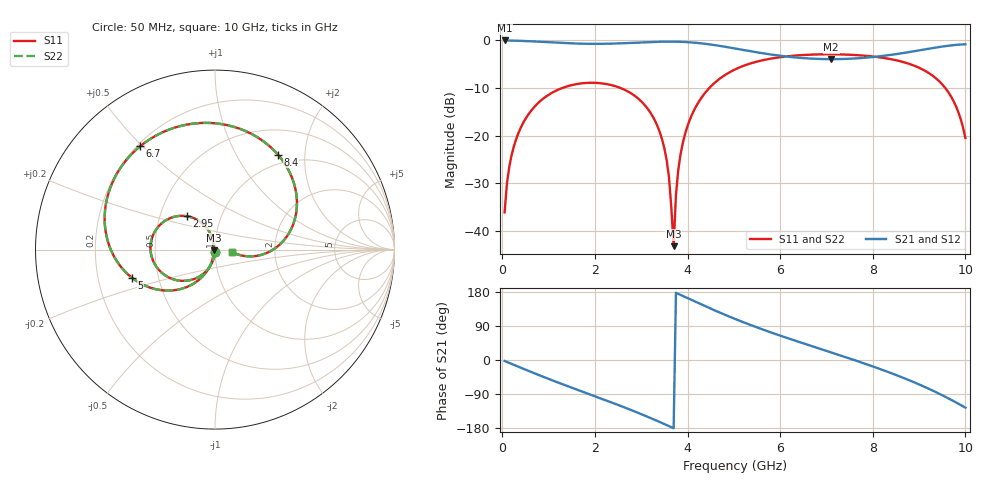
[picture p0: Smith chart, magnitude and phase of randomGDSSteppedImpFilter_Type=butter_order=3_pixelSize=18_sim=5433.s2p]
! freq	dB(S11)	phase(S11)	dB(S12)	phase(S12)
!  dB(S21)	phase(S21)	dB(S22)	phase(S22)
!S-par simulation data
#  GHz  S  DB  R 50
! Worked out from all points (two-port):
!   200 points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, 50 MHz to 10 GHz, reference 50 ohm
!   highest |S21| = -0.01 dB at 50 MHz (marker M1); lowest = -3.9 dB at 7.1 GHz (marker M2)
!   |S21| within 3 dB of the highest: start of sweep to 5.84 GHz; 8.407 GHz to end of sweep
!   lowest |S11| = -43.1 dB at 3.7 GHz (marker M3), VSWR 1.01, Z = 49.4 - j0.281 ohm
!   |S11| at or under -10 dB: start of sweep to 1.289 GHz; 2.56 GHz to 4.469 GHz (1.91 GHz wide, 54.3 % of centre); 9.567 GHz to end of sweep
!   |S22| runs from -42.8 to -2.9 dB; largest |S21 - S12| = 0
!   S11 on the Smith chart (normalised r, x): 50 MHz: 1.00, -0.03; 2.95 GHz: 0.69, +0.27; 5 GHz: 0.35, -0.14; 6.7 GHz: 0.21, +0.49; 8.4 GHz: 0.85, +1.51; 10 GHz: 1.21, -0.03
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0.05  -36.05 -92.4  -0.01 -2.6  -0.01 -2.6  -36.05 -92.4
0.2  -24.10 -100.7  -0.03 -10.3  -0.03 -10.3  -24.10 -100.7
0.5  -16.46 -115.8  -0.13 -25.4  -0.13 -25.4  -16.46 -115.8
1.1  -10.83 -145.1  -0.44 -54.6  -0.44 -54.6  -10.83 -145.1
1.75  -8.96 -175.0  -0.69 -84.4  -0.69 -84.4  -8.96 -174.9
2.95  -12.32 129.8  -0.44 -140.3  -0.44 -140.3  -12.32 129.9
3.4  -19.21 108.4  -0.27 -163.6  -0.27 -163.6  -19.21 108.5
3.6  -28.76 104.0  -0.25 -174.5  -0.25 -174.5  -28.74 104.4
3.7  -43.14 -155.9  -0.25 -180.0  -0.25 -180.0  -42.83 -156.8
3.75  -32.40 -108.0  -0.26 177.3  -0.26 177.3  -32.38 -108.6
3.8  -27.13 -104.3  -0.27 174.5  -0.27 174.5  -27.12 -104.6
4  -17.94 -110.3  -0.36 163.3  -0.36 163.3  -17.94 -110.4
4.4  -10.75 -130.9  -0.73 141.0  -0.73 141.0  -10.75 -130.9
5  -6.20 -161.5  -1.64 109.6  -1.64 109.6  -6.20 -161.5
5.05  -5.97 -163.9  -1.73 107.2  -1.73 107.2  -5.97 -163.9
5.85  -3.73 160.2  -3.02 70.7  -3.02 70.7  -3.73 160.2
6.7  -2.96 126.0  -3.82 35.9  -3.82 35.9  -2.96 125.9
7.1  -2.90 110.3  -3.92 20.1  -3.92 20.1  -2.90 110.2
8.35  -3.86 58.7  -3.08 -32.5  -3.08 -32.5  -3.86 58.7
8.4  -3.95 56.4  -3.01 -34.8  -3.01 -34.8  -3.95 56.4
9.5  -9.22 2.5  -1.29 -93.0  -1.29 -93.0  -9.22 2.6
10  -20.44 -8.4  -0.81 -125.7  -0.81 -125.7  -20.41 -8.0
